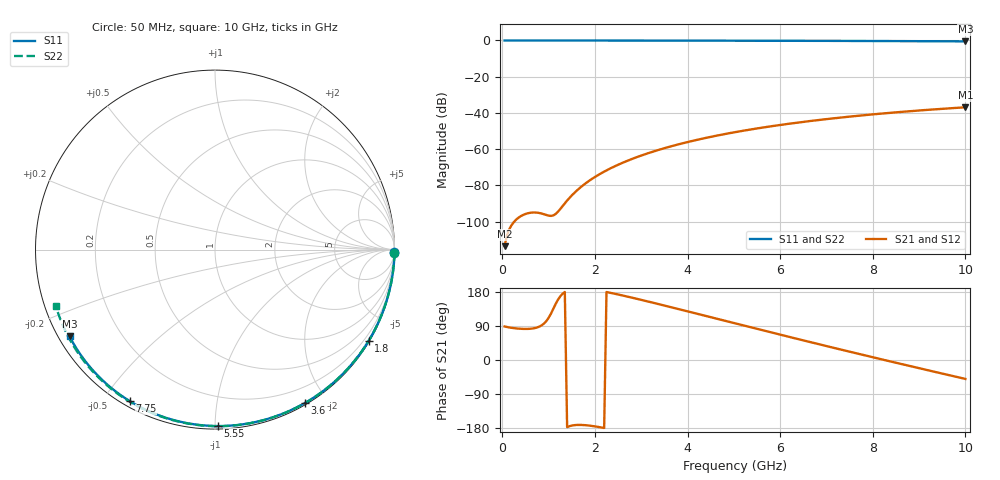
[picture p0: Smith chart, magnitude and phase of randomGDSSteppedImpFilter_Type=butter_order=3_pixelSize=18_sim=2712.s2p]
! freq	dB(S11)	phase(S11)	dB(S12)	phase(S12)
!  dB(S21)	phase(S21)	dB(S22)	phase(S22)
!S-par simulation data
#  GHz  S  DB  R 50
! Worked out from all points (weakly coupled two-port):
!   200 points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, 50 MHz to 10 GHz, reference 50 ohm
!   highest |S21| = -36.88 dB at 10 GHz (marker M1); lowest = -113.5 dB at 50 MHz (marker M2)
!   lowest |S11| = -0.5 dB at 10 GHz (marker M3), VSWR 34.63, Z = 1.55 - j13.8 ohm
!   |S11| at or under -10 dB: nowhere
!   |S22| runs from -0.5 to 0.0 dB; largest |S21 - S12| = 0
!   S11 on the Smith chart (normalised r, x): 50 MHz: open; 1.8 GHz: 0.03, -3.65; 3.6 GHz: 0.02, -1.74; 5.55 GHz: 0.02, -1.02; 7.75 GHz: 0.02, -0.59; 10 GHz: 0.03, -0.28
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0.05  -0.00 -0.9  -113.50 88.5  -113.50 88.5  -0.00 -0.9
0.45  -0.01 -7.8  -96.26 82.1  -96.26 82.1  -0.01 -8.3
0.85  -0.02 -14.6  -95.49 91.5  -95.49 91.5  -0.02 -15.7
1.25  -0.03 -21.4  -93.05 167.8  -93.05 167.8  -0.03 -22.9
1.7  -0.04 -29.0  -80.81 -171.3  -80.81 -171.3  -0.04 -31.0
1.75  -0.04 -29.8  -79.78 -171.6  -79.78 -171.6  -0.04 -31.9
1.8  -0.04 -30.7  -78.81 -172.1  -78.81 -172.1  -0.04 -32.8
2.1  -0.05 -35.6  -73.79 -177.2  -73.79 -177.2  -0.05 -38.1
2.3  -0.05 -38.9  -71.02 178.1  -71.02 178.1  -0.05 -41.6
2.5  -0.05 -42.2  -68.58 172.9  -68.58 172.9  -0.06 -45.1
2.9  -0.06 -48.7  -64.42 161.7  -64.42 161.7  -0.07 -52.0
3.4  -0.08 -56.6  -60.19 146.7  -60.19 146.7  -0.08 -60.5
3.6  -0.08 -59.8  -58.71 140.7  -58.71 140.7  -0.09 -63.8
4.3  -0.10 -70.5  -54.29 119.1  -54.29 119.1  -0.11 -75.3
5.05  -0.13 -81.7  -50.48 96.0  -50.48 96.0  -0.13 -87.2
5.55  -0.15 -89.0  -48.34 80.6  -48.34 80.6  -0.15 -94.9
6.1  -0.17 -96.8  -46.27 63.8  -46.27 63.8  -0.18 -103.3
6.7  -0.20 -105.1  -44.29 45.7  -44.29 45.7  -0.22 -112.2
7.75  -0.28 -119.3  -41.38 14.6  -41.38 14.6  -0.29 -127.5
8.35  -0.33 -127.3  -39.98 -2.9  -39.98 -2.9  -0.35 -136.2
9.2  -0.41 -138.5  -38.26 -27.3  -38.26 -27.3  -0.43 -148.6
10  -0.50 -149.1  -36.88 -49.9  -36.88 -49.9  -0.53 -160.5
